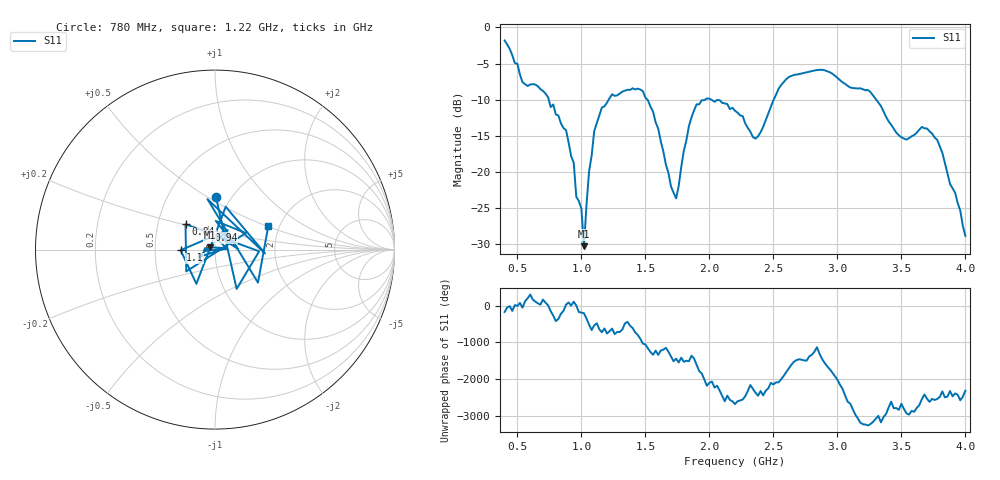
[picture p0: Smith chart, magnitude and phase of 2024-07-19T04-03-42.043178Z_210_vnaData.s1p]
!Created with skrf (http://scikit-rf.org).
# Hz S RI R 50.0
!freq ReS11 ImS11
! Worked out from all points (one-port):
!   181 points, 400 MHz to 4 GHz, reference 50 ohm
!   lowest |S11| = -30.3 dB at 1.02 GHz (marker M1), VSWR 1.06, Z = 47.3 + j1.26 ohm
!   |S11| at or under -10 dB: 745 MHz to 1.213 GHz (467.9 MHz wide, 47.8 % of centre); 2.016 GHz to 2.502 GHz (486.4 MHz wide, 21.5 % of centre); 3.304 GHz to end of sweep (the widest 3 of 4)
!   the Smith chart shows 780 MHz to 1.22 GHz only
!   S11 on the Smith chart (normalised r, x): 780 MHz: 0.85, +0.55; 840 MHz: 0.69, +0.21; 940 MHz: 0.91, +0.20; 1.1 GHz: 0.68, -0.00; 1.22 GHz: 1.75, +0.51
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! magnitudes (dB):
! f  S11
! 400 MHz  -1.8
! 540 MHz  -7.6
! 780 MHz  -10.7
! 840 MHz  -13.3
! 860 MHz  -13.9
! 940 MHz  -18.7
! 960 MHz  -23.4
! 1 GHz  -25.1
! 1.02 GHz  -30.3
! 1.06 GHz  -19.9
! 1.1 GHz  -14.3
! 1.22 GHz  -9.8
! 1.3 GHz  -9.1
! 1.48 GHz  -8.8
! 1.6 GHz  -14.0
! 1.7 GHz  -22.0
! 1.74 GHz  -23.7
! 1.76 GHz  -22.0
! 1.84 GHz  -13.7
! 1.9 GHz  -10.6
! 2.2 GHz  -11.5
! 2.36 GHz  -15.4
! 2.66 GHz  -6.6
! 3.1 GHz  -8.3
! 3.24 GHz  -8.7
! 3.56 GHz  -15.3
! 3.78 GHz  -15.6
! 4 GHz  -28.9
